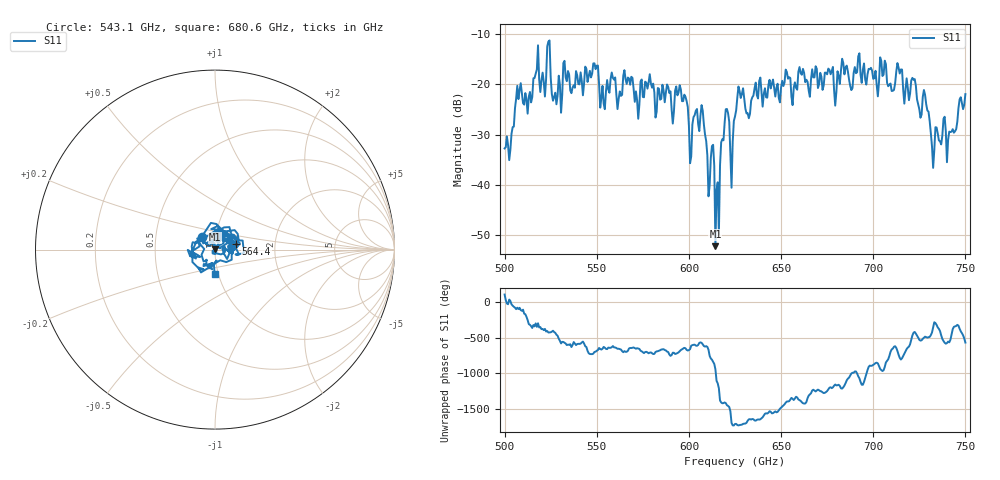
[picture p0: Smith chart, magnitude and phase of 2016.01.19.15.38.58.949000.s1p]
!Created with skrf (http://scikit-rf.org).
# GHz S RI R 50.0
!freq ReS11 ImS11
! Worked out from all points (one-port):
!   401 points, 500 GHz to 750 GHz, reference 50 ohm
!   lowest |S11| = -52.2 dB at 614.4 GHz (marker M1), VSWR 1.00, Z = 49.8 + j0.181 ohm
!   |S11| at or under -10 dB: start of sweep to end of sweep
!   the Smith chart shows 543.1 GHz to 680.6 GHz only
!   S11 on the Smith chart (normalised r, x): 543.1 GHz: 0.85, +0.13; 564.4 GHz: 1.27, +0.08; 680.6 GHz: 0.96, -0.26
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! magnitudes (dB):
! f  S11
! 500 GHz  -32.7
! 503.8 GHz  -29.8
! 507.5 GHz  -22.9
! 513.8 GHz  -21.5
! 516.9 GHz  -17.9
! 531.2 GHz  -22.1
! 543.1 GHz  -19.7
! 562.5 GHz  -21.4
! 564.4 GHz  -18.3
! 593.8 GHz  -22.2
! 601.2 GHz  -34.3
! 607.5 GHz  -25.2
! 614.4 GHz  -52.2
! 615.6 GHz  -39.5
! 620 GHz  -24.9
! 623.1 GHz  -40.6
! 625 GHz  -26.4
! 628.1 GHz  -22.7
! 631.9 GHz  -25.7
! 637.5 GHz  -22.8
! 656.2 GHz  -24.1
! 680.6 GHz  -17.4
! 687.5 GHz  -20.3
! 705 GHz  -18.3
! 718.8 GHz  -20.7
! 728.1 GHz  -22.1
! 732.5 GHz  -36.6
! 750 GHz  -21.9
